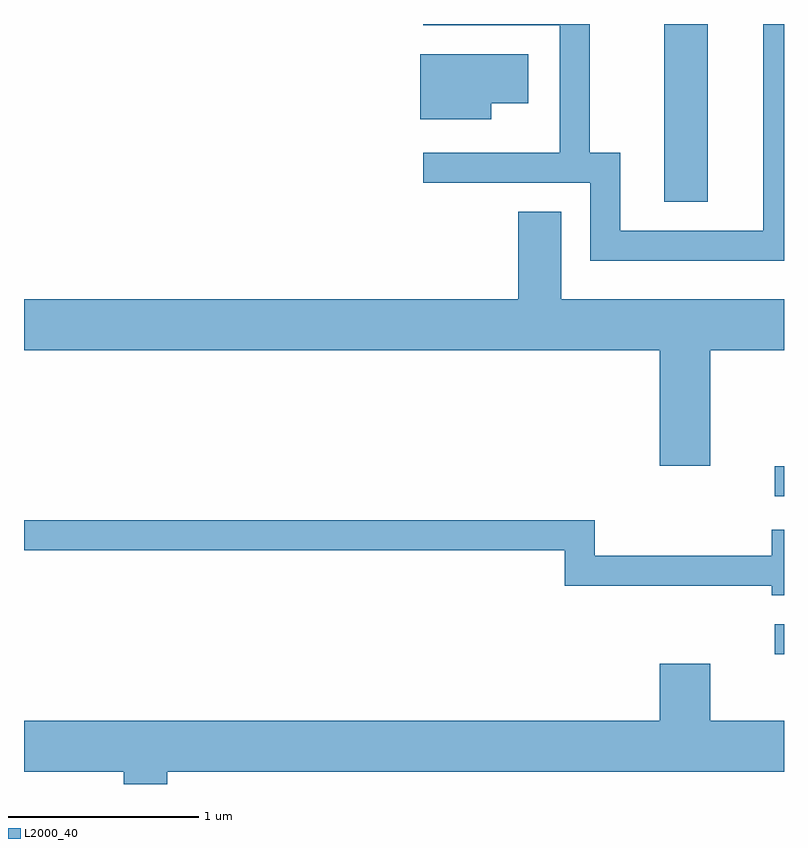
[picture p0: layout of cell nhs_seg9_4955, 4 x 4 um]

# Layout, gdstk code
import gdstk
lib = gdstk.Library(unit=1e-6, precision=1e-09)
def R(c, l, rs):  # rectangles x0, y0, x1, y1
    for r in rs: c.add(gdstk.rectangle(r[:2], r[2:], *l))
def P(c, l, *ps):  # polygons
    for p in ps: c.add(gdstk.Polygon(p, *l))
L2000_40 = (2000, 40)

nhs_seg9_4955 = lib.new_cell('nhs_seg9_4955')
R(nhs_seg9_4955, L2000_40, [(335.563,1979.116,335.611,1979.274), (335.563,1979.946,335.611,1980.104), (334.981,1981.496,335.209,1982.432)])
P(nhs_seg9_4955, L2000_40, [(335.611,1982.432),(335.501,1982.432),(335.501,1981.344),(334.749,1981.344),(334.749,1981.754),(334.589,1981.754),(334.589,1982.432),(333.713,1982.432),(333.713,1982.426),(334.431,1982.426),(334.431,1981.754),(333.713,1981.754),(333.713,1981.596),(334.591,1981.596),(334.591,1981.186),(335.611,1981.186)],
  [(334.069,1982.016),(334.264,1982.016),(334.264,1982.274),(333.696,1982.274),(333.696,1981.931),(334.069,1981.931)],
  [(335.224,1980.716),(335.611,1980.716),(335.611,1980.984),(334.439,1980.984),(334.439,1981.444),(334.211,1981.444),(334.211,1980.984),(331.611,1980.984),(331.611,1980.716),(334.956,1980.716),(334.956,1980.106),(335.224,1980.106)],
  [(335.611,1979.769),(335.546,1979.769),(335.546,1979.634),(334.614,1979.634),(334.614,1979.819),(331.611,1979.819),(331.611,1979.661),(334.456,1979.661),(334.456,1979.476),(335.546,1979.476),(335.546,1979.426),(335.611,1979.426)],
  [(332.364,1978.496),(335.611,1978.496),(335.611,1978.764),(335.224,1978.764),(335.224,1979.064),(334.956,1979.064),(334.956,1978.764),(331.611,1978.764),(331.611,1978.496),(332.136,1978.496),(332.136,1978.432),(332.364,1978.432)])

lib.write_gds('nhs_seg9_4955.gds')
